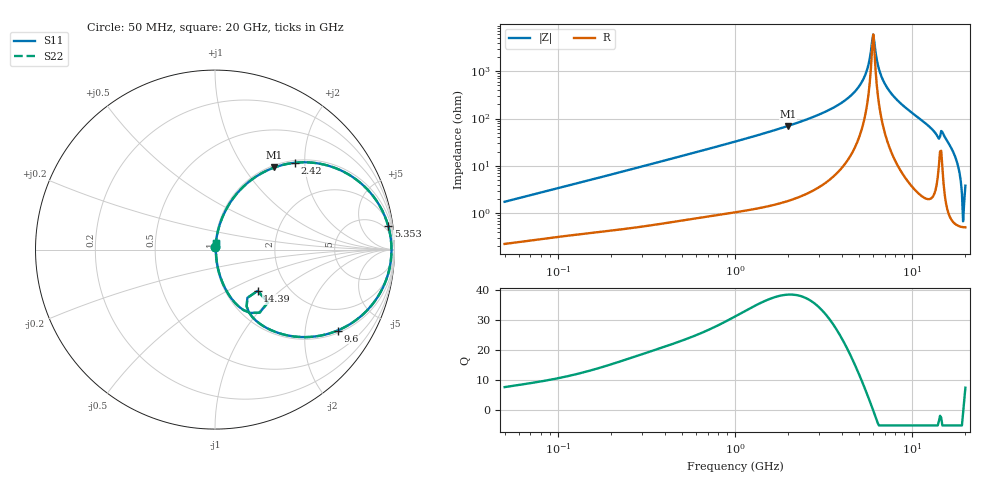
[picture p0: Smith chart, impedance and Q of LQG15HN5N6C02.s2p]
!Murata Part Number: LQG15HN5N6C02
!These Parameters are Measured in Series Mode Connection
!  o--[Z]--o
!Port1  Port2
!  o-------o
!Freq. Start=50[MHz] Stop=20[GHz], 401[Steps]
# Hz S RI R 50
!Freq.(Hz) S11(Real) S11(Imag) S21(Real) S21(Imag) S12(Real) S12(Imag) S22(Real) S22(Imag)
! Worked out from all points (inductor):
!   401 points, 50 MHz to 20 GHz, reference 50 ohm
!   read as one part in series: L = 5.46 nH near 51.52 MHz
!   highest Q = 38.3 at 1.992 GHz (marker M1), where L = 5.57 nH
!   self-resonance near 5.944 GHz
!   S11 on the Smith chart (normalised r, x): 50 MHz: 1.00, +0.03; 2.42 GHz: 1.05, +1.79; 5.353 GHz: 3, +14; 9.6 GHz: 1.09, -2.97; 14.39 GHz: 1.40, -0.73; 20 GHz: 1.01, +0.08
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5e7  0.00255 0.0173  0.9975 -0.0173  0.9975 -0.0173  0.00255 0.0173
1.364002e8  0.00566 0.0449  0.9943 -0.0449  0.9943 -0.0449  0.00566 0.0449
3.721004e8  0.02 0.1176  0.98 -0.1176  0.98 -0.1176  0.02 0.1176
1e9  0.1032 0.2885  0.8968 -0.2885  0.8968 -0.2885  0.1032 0.2885
1.99176e9  0.331 0.4577  0.669 -0.4577  0.669 -0.4577  0.331 0.4577
2.419936e9  0.4455 0.4839  0.5545 -0.4839  0.5545 -0.4839  0.4455 0.4839
2.728004e9  0.5273 0.4855  0.4727 -0.4855  0.4727 -0.4855  0.5273 0.4855
4.212059e9  0.8472 0.3373  0.1528 -0.3373  0.1528 -0.3373  0.8472 0.3373
4.81993e9  0.925 0.2308  0.075 -0.2308  0.075 -0.2308  0.925 0.2308
5.352748e9  0.9657 0.1295  0.0343 -0.1295  0.0343 -0.1295  0.9657 0.1295
6.034176e9  0.9835 -0.000585  0.0165 0.000585  0.0165 0.000585  0.9835 -0.000585
6.701223e9  0.9686 -0.1203  0.0314 0.1203  0.0314 0.1203  0.9686 -0.1203
7.442007e9  0.9222 -0.2373  0.0778 0.2373  0.0778 0.2373  0.9222 -0.2373
9.600142e9  0.6826 -0.4509  0.3174 0.4509  0.3174 0.4509  0.6826 -0.4509
1.201863e10  0.3748 -0.471  0.6252 0.471  0.6252 0.471  0.3748 -0.471
1.375312e10  0.1901 -0.3512  0.8099 0.3512  0.8099 0.3512  0.1901 -0.3512
1.438523e10  0.2374 -0.23  0.7626 0.23  0.7626 0.23  0.2374 -0.23
1.527346e10  0.1608 -0.338  0.8392 0.338  0.8392 0.338  0.1608 -0.338
1.721783e10  0.0379 -0.1744  0.9621 0.1744  0.9621 0.1744  0.0379 -0.1744
1.828096e10  0.0135 -0.0894  0.9865 0.0894  0.9865 0.0894  0.0135 -0.0894
1.912117e10  0.00576 -0.0256  0.9942 0.0256  0.9942 0.0256  0.00576 -0.0256
2e10  0.00644 0.0375  0.9936 -0.0375  0.9936 -0.0375  0.00644 0.0375
